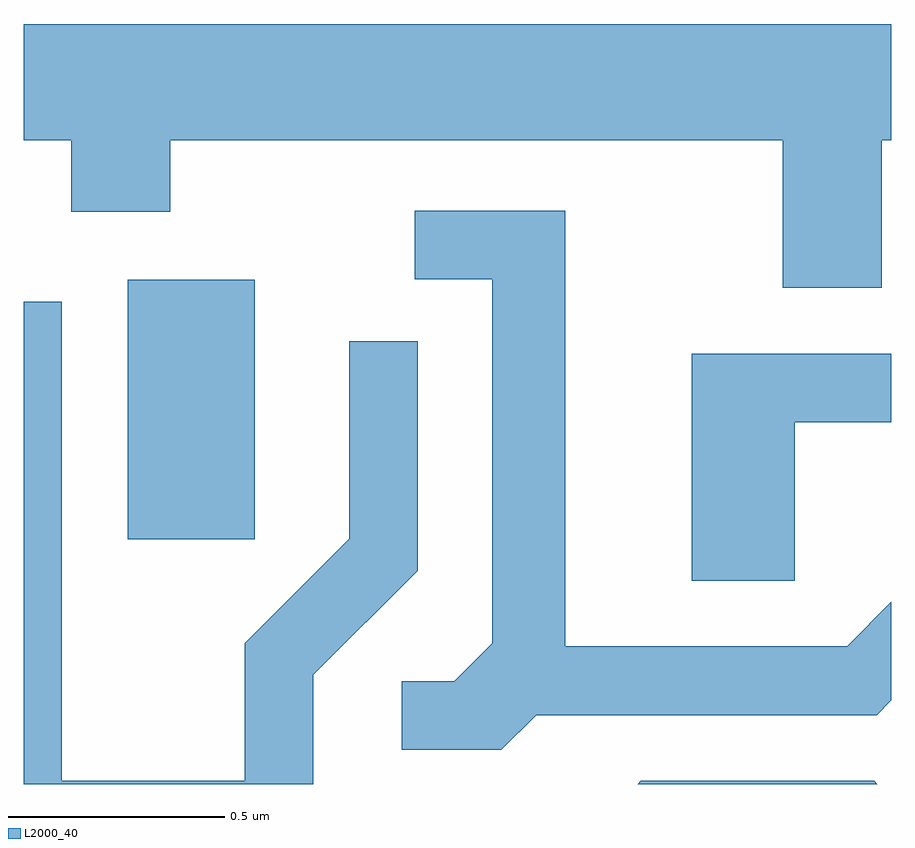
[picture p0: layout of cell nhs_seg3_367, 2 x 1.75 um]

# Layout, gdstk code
import gdstk
lib = gdstk.Library(unit=1e-6, precision=1e-09)
def R(c, l, rs):  # rectangles x0, y0, x1, y1
    for r in rs: c.add(gdstk.rectangle(r[:2], r[2:], *l))
def P(c, l, *ps):  # polygons
    for p in ps: c.add(gdstk.Polygon(p, *l))
L2000_40 = (2000, 40)

nhs_seg3_367 = lib.new_cell('nhs_seg3_367')
R(nhs_seg3_367, L2000_40, [(187.851,1209.456,188.144,1210.054)])
P(nhs_seg3_367, L2000_40, [(189.589,1210.376),(189.611,1210.376),(189.611,1210.644),(187.611,1210.644),(187.611,1210.376),(187.721,1210.376),(187.721,1210.211),(187.949,1210.211),(187.949,1210.376),(189.361,1210.376),(189.361,1210.036),(189.589,1210.036)],
  [(188.792,1209.051),(189.577,1209.051),(189.611,1209.085),(189.611,1209.312),(189.509,1209.209),(188.859,1209.209),(188.859,1210.214),(188.513,1210.214),(188.513,1210.056),(188.691,1210.056),(188.691,1209.217),(188.604,1209.129),(188.483,1209.129),(188.483,1208.971),(188.712,1208.971)],
  [(188.279,1209.144),(188.519,1209.384),(188.519,1209.913),(188.361,1209.913),(188.361,1209.457),(188.121,1209.217),(188.121,1208.899),(187.699,1208.899),(187.699,1210.004),(187.611,1210.004),(187.611,1208.892),(188.279,1208.892)],
  [(189.389,1209.726),(189.611,1209.726),(189.611,1209.884),(189.151,1209.884),(189.151,1209.361),(189.389,1209.361)],
  [(189.572,1208.899),(189.034,1208.899),(189.027,1208.892),(189.579,1208.892)])

lib.write_gds('nhs_seg3_367.gds')
